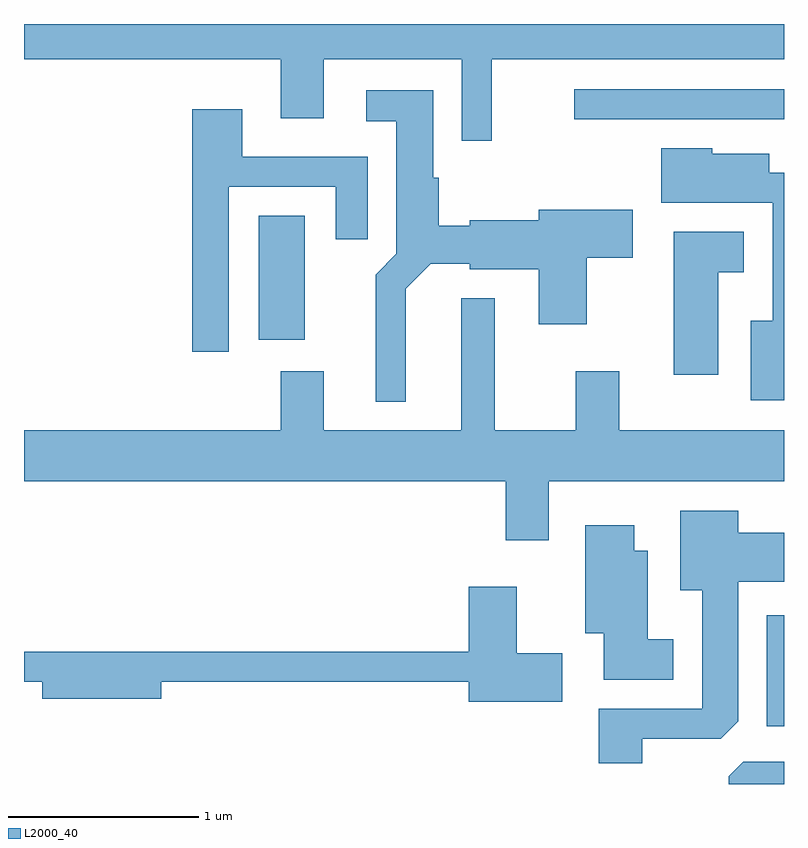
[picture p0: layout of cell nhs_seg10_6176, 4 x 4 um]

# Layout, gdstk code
import gdstk
lib = gdstk.Library(unit=1e-6, precision=1e-09)
def R(c, l, rs):  # rectangles x0, y0, x1, y1
    for r in rs: c.add(gdstk.rectangle(r[:2], r[2:], *l))
def P(c, l, *ps):  # polygons
    for p in ps: c.add(gdstk.Polygon(p, *l))
L2000_40 = (2000, 40)

nhs_seg10_6176 = lib.new_cell('nhs_seg10_6176')
R(nhs_seg10_6176, L2000_40, [(371.521,2134.826,371.611,2135.409), (368.846,2136.861,369.089,2137.514), (370.508,2138.021,371.611,2138.179)])
P(nhs_seg10_6176, L2000_40, [(370.074,2138.336),(371.611,2138.336),(371.611,2138.522),(367.611,2138.522),(367.611,2138.336),(368.961,2138.336),(368.961,2138.026),(369.189,2138.026),(369.189,2138.336),(369.916,2138.336),(369.916,2137.908),(370.074,2137.908)],
  [(369.619,2137.129),(369.752,2137.261),(369.956,2137.261),(369.956,2137.231),(370.321,2137.231),(370.321,2136.941),(370.574,2136.941),(370.574,2137.291),(370.814,2137.291),(370.814,2137.544),(370.321,2137.544),(370.321,2137.489),(369.956,2137.489),(369.956,2137.459),(369.794,2137.459),(369.794,2137.714),(369.764,2137.714),(369.764,2138.174),(369.413,2138.174),(369.413,2138.011),(369.571,2138.011),(369.571,2137.312),(369.461,2137.202),(369.461,2136.533),(369.619,2136.533)],
  [(368.689,2137.666),(369.251,2137.666),(369.251,2137.388),(369.419,2137.388),(369.419,2137.824),(368.759,2137.824),(368.759,2138.074),(368.496,2138.074),(368.496,2136.796),(368.689,2136.796)],
  [(371.611,2137.739),(371.534,2137.739),(371.534,2137.839),(371.234,2137.839),(371.234,2137.869),(370.966,2137.869),(370.966,2137.581),(371.551,2137.581),(371.551,2136.959),(371.436,2136.959),(371.436,2136.541),(371.611,2136.541)],
  [(371.264,2137.216),(371.399,2137.216),(371.399,2137.429),(371.031,2137.429),(371.031,2136.676),(371.264,2136.676)],
  [(370.374,2136.116),(371.611,2136.116),(371.611,2136.384),(370.744,2136.384),(370.744,2136.694),(370.516,2136.694),(370.516,2136.384),(370.089,2136.384),(370.089,2137.079),(369.911,2137.079),(369.911,2136.384),(369.189,2136.384),(369.189,2136.694),(368.961,2136.694),(368.961,2136.384),(367.611,2136.384),(367.611,2136.116),(370.146,2136.116),(370.146,2135.806),(370.374,2135.806)],
  [(370.864,2134.761),(371.279,2134.761),(371.369,2134.852),(371.369,2135.586),(371.611,2135.586),(371.611,2135.844),(371.369,2135.844),(371.369,2135.959),(371.066,2135.959),(371.066,2135.541),(371.181,2135.541),(371.181,2134.919),(370.636,2134.919),(370.636,2134.631),(370.864,2134.631)],
  [(371.029,2135.284),(370.894,2135.284),(370.894,2135.749),(370.824,2135.749),(370.824,2135.884),(370.566,2135.884),(370.566,2135.316),(370.661,2135.316),(370.661,2135.071),(371.029,2135.071)],
  [(370.444,2135.209),(370.204,2135.209),(370.204,2135.559),(369.951,2135.559),(369.951,2135.219),(367.611,2135.219),(367.611,2135.061),(367.706,2135.061),(367.706,2134.971),(368.334,2134.971),(368.334,2135.061),(369.951,2135.061),(369.951,2134.956),(370.444,2134.956)],
  [(371.611,2134.639),(371.397,2134.639),(371.321,2134.564),(371.321,2134.522),(371.611,2134.522)])

lib.write_gds('nhs_seg10_6176.gds')
